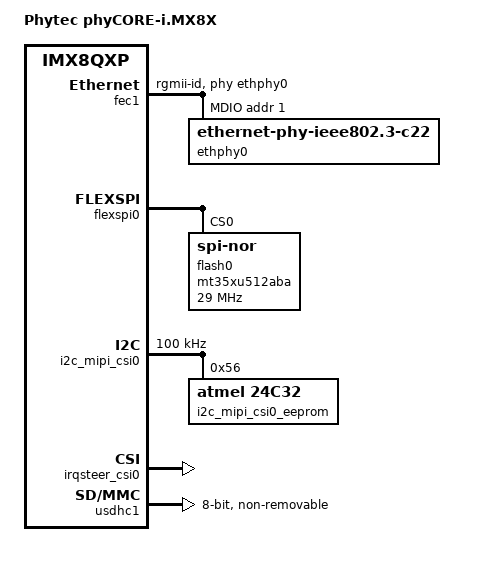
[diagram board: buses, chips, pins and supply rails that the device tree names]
// SPDX-License-Identifier: GPL-2.0+
/*
 * Copyright (C) 2018 PHYTEC Messtechnik GmbH
 *
 * Copyright (C) 2019-2021 PHYTEC America, LLC
 */

#include "../freescale/imx8qxp.dtsi"
#include <dt-bindings/gpio/gpio.h>
#include <dt-bindings/net/ti-dp83867.h>

/ {
	model = "Phytec phyCORE-i.MX8X";
	compatible = "phytec,imx8qxp-pcm065", "fsl,imx8qxp";

	/* Make the I2C RTC default */
	aliases {
		rtc0 = &i2c_rtc;
		rtc1 = &rtc;
	};

	reserved-memory {
		#address-cells = <2>;
		#size-cells = <2>;
		ranges;

		gpu_reserved: gpu_reserved@880000000 {
			no-map;
			reg = <0x8 0x80000000 0 0x10000000>;
		};

		decoder_boot: decoder-boot@84000000 {
			reg = <0 0x84000000 0 0x2000000>;
			no-map;
		};

		encoder_boot: encoder-boot@86000000 {
			reg = <0 0x86000000 0 0x200000>;
			no-map;
		};

		decoder_rpc: decoder-rpc@0x92000000 {
			reg = <0 0x92000000 0 0x100000>;
			no-map;
		};

		dsp_reserved: dsp@92400000 {
			reg = <0 0x92400000 0 0x1000000>;
			no-map;
		};
		dsp_reserved_heap: dsp_reserved_heap {
			reg = <0 0x93400000 0 0xef0000>;
			no-map;
		};
		dsp_vdev0vring0: vdev0vring0@942f0000 {
			reg = <0 0x942f0000 0 0x8000>;
			no-map;
		};

		dsp_vdev0vring1: vdev0vring1@942f8000 {
			reg = <0 0x942f8000 0 0x8000>;
			no-map;
		};

		dsp_vdev0buffer: vdev0buffer@94300000 {
			compatible = "shared-dma-pool";
			reg = <0 0x94300000 0 0x100000>;
			no-map;
		};

		encoder_rpc: encoder-rpc@0x94400000 {
			reg = <0 0x94400000 0 0x700000>;
			no-map;
		};
	};
};

&fec1 {
	pinctrl-names = "default";
	pinctrl-0 = <&pinctrl_fec1>;
	phy-mode = "rgmii-id";
	phy-handle = <&ethphy0>;
	nvmem-cells = <&fec_mac0>;
	nvmem-cell-names = "mac-address";
	fsl,magic-packet;
	status = "okay";

	mdio: mdio {
		#address-cells = <1>;
		#size-cells = <0>;

		ethphy0: ethernet-phy@1 {
			compatible = "ethernet-phy-ieee802.3-c22";
			reg = <1>;
			ti,rx-internal-delay = <DP83867_RGMIIDCTL_2_00_NS>;
			ti,tx-internal-delay = <DP83867_RGMIIDCTL_2_00_NS>;
			ti,fifo-depth = <DP83867_PHYCR_FIFO_DEPTH_8_B_NIB>;
			ti,led-0-active-low;
			ti,led-2-active-low;
			enet-phy-lane-no-swap;
		};
	};
};

&flexspi0 {
	pinctrl-names = "default";
	pinctrl-0 = <&pinctrl_flexspi0>;
	status = "okay";

	flash0: mt35xu512aba@0 {
		reg = <0>;
		#address-cells = <1>;
		#size-cells = <1>;
		compatible = "jedec,spi-nor";
		spi-max-frequency = <29000000>;
		spi-tx-bus-width = <4>;
		spi-rx-bus-width = <4>;
	};
};

&i2c_mipi_csi0 {
	#address-cells = <1>;
	#size-cells = <0>;
	clock-frequency = <100000>;
	pinctrl-names = "default";
	pinctrl-0 = <&pinctrl_i2c_mipi_csi0>;
	status = "okay";

	i2c_mipi_csi0_eeprom: eeprom@56 {
		compatible = "atmel,24c32";
		pagesize = <32>;
		reg = <0x56>;
		status = "okay";
	};
};

&irqsteer_csi0 {
	status = "okay";
};

&usdhc1 {
	pinctrl-names = "default", "state_100mhz", "state_200mhz";
	pinctrl-0 = <&pinctrl_usdhc1>;
	pinctrl-1 = <&pinctrl_usdhc1_100mhz>;
	pinctrl-2 = <&pinctrl_usdhc1_200mhz>;
	bus-width = <8>;
	no-sd;
	no-sdio;
	non-removable;
	status = "okay";
};

&thermal_zones {
	pmic-thermal0 {
		polling-delay-passive = <250>;
		polling-delay = <2000>;
		thermal-sensors = <&tsens 497>;
		trips {
			pmic_alert0: trip0 {
				temperature = <110000>;
				hysteresis = <2000>;
				type = "passive";
			};
			pmic_crit0: trip1 {
				temperature = <125000>;
				hysteresis = <2000>;
				type = "critical";
			};
		};
		cooling-maps {
			map0 {
				trip = <&pmic_alert0>;
				cooling-device =
					<&A35_0 THERMAL_NO_LIMIT THERMAL_NO_LIMIT>,
					<&A35_1 THERMAL_NO_LIMIT THERMAL_NO_LIMIT>,
					<&A35_2 THERMAL_NO_LIMIT THERMAL_NO_LIMIT>,
					<&A35_3 THERMAL_NO_LIMIT THERMAL_NO_LIMIT>;
			};
		};
	};
};

&iomuxc {
	pcm065 {
		pinctrl_fec1: fec1grp {
			fsl,pins = <
				IMX8QXP_ENET0_MDC_CONN_ENET0_MDC			0x06000020
				IMX8QXP_ENET0_MDIO_CONN_ENET0_MDIO			0x06000060
				IMX8QXP_ENET0_RGMII_TX_CTL_CONN_ENET0_RGMII_TX_CTL	0x06000020
				IMX8QXP_ENET0_RGMII_TXC_CONN_ENET0_RGMII_TXC		0x06000020
				IMX8QXP_ENET0_RGMII_TXD0_CONN_ENET0_RGMII_TXD0		0x06000020
				IMX8QXP_ENET0_RGMII_TXD1_CONN_ENET0_RGMII_TXD1		0x06000020
				IMX8QXP_ENET0_RGMII_TXD2_CONN_ENET0_RGMII_TXD2		0x06000020
				IMX8QXP_ENET0_RGMII_TXD3_CONN_ENET0_RGMII_TXD3		0x06000020
				IMX8QXP_ENET0_RGMII_RXC_CONN_ENET0_RGMII_RXC		0x06000020
				IMX8QXP_ENET0_RGMII_RX_CTL_CONN_ENET0_RGMII_RX_CTL	0x06000020
				IMX8QXP_ENET0_RGMII_RXD0_CONN_ENET0_RGMII_RXD0		0x06000020
				IMX8QXP_ENET0_RGMII_RXD1_CONN_ENET0_RGMII_RXD1		0x06000020
				IMX8QXP_ENET0_RGMII_RXD2_CONN_ENET0_RGMII_RXD2		0x06000020
				IMX8QXP_ENET0_RGMII_RXD3_CONN_ENET0_RGMII_RXD3		0x06000020
			>;
		};

		pinctrl_flexspi0: flexspi0grp {
			fsl,pins = <
				IMX8QXP_QSPI0A_DATA0_LSIO_QSPI0A_DATA0		0x0600004c
				IMX8QXP_QSPI0A_DATA1_LSIO_QSPI0A_DATA1		0x0600004c
				IMX8QXP_QSPI0A_DATA2_LSIO_QSPI0A_DATA2		0x0600004c
				IMX8QXP_QSPI0A_DATA3_LSIO_QSPI0A_DATA3		0x0600004c
				IMX8QXP_QSPI0A_DQS_LSIO_QSPI0A_DQS		0x0600004c
				IMX8QXP_QSPI0A_SS0_B_LSIO_QSPI0A_SS0_B		0x0600004c
				IMX8QXP_QSPI0A_SS1_B_LSIO_QSPI0A_SS1_B		0x0600004c
				IMX8QXP_QSPI0A_SCLK_LSIO_QSPI0A_SCLK		0x0600004c
				IMX8QXP_QSPI0B_SCLK_LSIO_QSPI0B_SCLK		0x0600004c
				IMX8QXP_QSPI0B_DATA0_LSIO_QSPI0B_DATA0		0x0600004c
				IMX8QXP_QSPI0B_DATA1_LSIO_QSPI0B_DATA1		0x0600004c
				IMX8QXP_QSPI0B_DATA2_LSIO_QSPI0B_DATA2		0x0600004c
				IMX8QXP_QSPI0B_DATA3_LSIO_QSPI0B_DATA3		0x0600004c
				IMX8QXP_QSPI0B_DQS_LSIO_QSPI0B_DQS		0x0600004c
				IMX8QXP_QSPI0B_SS0_B_LSIO_QSPI0B_SS0_B		0x0600004c
				IMX8QXP_QSPI0B_SS1_B_LSIO_QSPI0B_SS1_B		0x0600004c
			>;
		};

		pinctrl_i2c_mipi_csi0: i2c_mipi_csi0 {
			fsl,pins = <
				IMX8QXP_MIPI_CSI0_I2C0_SCL_MIPI_CSI0_I2C0_SCL 0xc2000020
				IMX8QXP_MIPI_CSI0_I2C0_SDA_MIPI_CSI0_I2C0_SDA 0xc2000020
			>;
		};

		pinctrl_usdhc1: usdhc1grp {
			fsl,pins = <
				IMX8QXP_EMMC0_CLK_CONN_EMMC0_CLK		0x06000041
				IMX8QXP_EMMC0_CMD_CONN_EMMC0_CMD		0x00000021
				IMX8QXP_EMMC0_DATA0_CONN_EMMC0_DATA0		0x00000021
				IMX8QXP_EMMC0_DATA1_CONN_EMMC0_DATA1		0x00000021
				IMX8QXP_EMMC0_DATA2_CONN_EMMC0_DATA2		0x00000021
				IMX8QXP_EMMC0_DATA3_CONN_EMMC0_DATA3		0x00000021
				IMX8QXP_EMMC0_DATA4_CONN_EMMC0_DATA4		0x00000021
				IMX8QXP_EMMC0_DATA5_CONN_EMMC0_DATA5		0x00000021
				IMX8QXP_EMMC0_DATA6_CONN_EMMC0_DATA6		0x00000021
				IMX8QXP_EMMC0_DATA7_CONN_EMMC0_DATA7		0x00000021
				IMX8QXP_EMMC0_STROBE_CONN_EMMC0_STROBE		0x06000041
				IMX8QXP_EMMC0_RESET_B_CONN_EMMC0_RESET_B	0x00000021
			>;
		};

		pinctrl_usdhc1_100mhz: usdhc1grp100mhz {
			fsl,pins = <
				IMX8QXP_EMMC0_CLK_CONN_EMMC0_CLK		0x06000040
				IMX8QXP_EMMC0_CMD_CONN_EMMC0_CMD		0x00000020
				IMX8QXP_EMMC0_DATA0_CONN_EMMC0_DATA0		0x00000020
				IMX8QXP_EMMC0_DATA1_CONN_EMMC0_DATA1		0x00000020
				IMX8QXP_EMMC0_DATA2_CONN_EMMC0_DATA2		0x00000020
				IMX8QXP_EMMC0_DATA3_CONN_EMMC0_DATA3		0x00000020
				IMX8QXP_EMMC0_DATA4_CONN_EMMC0_DATA4		0x00000020
				IMX8QXP_EMMC0_DATA5_CONN_EMMC0_DATA5		0x00000020
				IMX8QXP_EMMC0_DATA6_CONN_EMMC0_DATA6		0x00000020
				IMX8QXP_EMMC0_DATA7_CONN_EMMC0_DATA7		0x00000020
				IMX8QXP_EMMC0_STROBE_CONN_EMMC0_STROBE		0x06000040
				IMX8QXP_EMMC0_RESET_B_CONN_EMMC0_RESET_B	0x00000020
			>;
		};

		pinctrl_usdhc1_200mhz: usdhc1grp200mhz {
			fsl,pins = <
				IMX8QXP_EMMC0_CLK_CONN_EMMC0_CLK		0x06000040
				IMX8QXP_EMMC0_CMD_CONN_EMMC0_CMD		0x00000020
				IMX8QXP_EMMC0_DATA0_CONN_EMMC0_DATA0		0x00000020
				IMX8QXP_EMMC0_DATA1_CONN_EMMC0_DATA1		0x00000020
				IMX8QXP_EMMC0_DATA2_CONN_EMMC0_DATA2		0x00000020
				IMX8QXP_EMMC0_DATA3_CONN_EMMC0_DATA3		0x00000020
				IMX8QXP_EMMC0_DATA4_CONN_EMMC0_DATA4		0x00000020
				IMX8QXP_EMMC0_DATA5_CONN_EMMC0_DATA5		0x00000020
				IMX8QXP_EMMC0_DATA6_CONN_EMMC0_DATA6		0x00000020
				IMX8QXP_EMMC0_DATA7_CONN_EMMC0_DATA7		0x00000020
				IMX8QXP_EMMC0_STROBE_CONN_EMMC0_STROBE		0x06000040
				IMX8QXP_EMMC0_RESET_B_CONN_EMMC0_RESET_B	0x00000020
			>;
		};
	};
};
